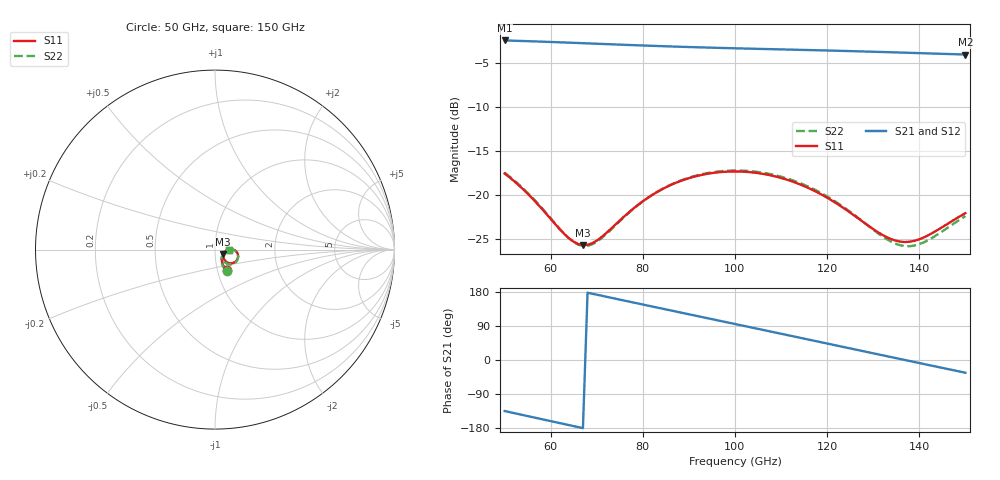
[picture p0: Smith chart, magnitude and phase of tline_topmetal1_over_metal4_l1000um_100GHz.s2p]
#  GHZ S DB R 50
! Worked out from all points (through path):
!   101 points, 50 GHz to 150 GHz, reference 50 ohm
!   highest |S21| = -2.47 dB at 50 GHz (marker M1); lowest = -4.1 dB at 150 GHz (marker M2)
!   group delay of S21, straight-line fit = 7.17 ps
!   lowest |S11| = -25.7 dB at 67 GHz (marker M3), VSWR 1.11, Z = 54.6 - j2.85 ohm
!   |S11| at or under -10 dB: start of sweep to end of sweep
!   |S22| runs from -25.8 to -17.2 dB; largest |S21 - S12| = 8.6e-14
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50  -17.58 -59.9  -2.47 -134.6  -2.47 -134.6  -17.48 -61.1
55  -19.87 -62.6  -2.55 -148.0  -2.55 -148.0  -19.77 -64.2
59  -22.13 -60.2  -2.63 -158.6  -2.63 -158.6  -22.04 -62.1
64  -24.94 -45.7  -2.72 -171.9  -2.72 -171.9  -24.95 -48.2
67  -25.70 -30.1  -2.78 -179.8  -2.78 -179.8  -25.80 -32.5
70  -25.19 -14.8  -2.84 172.4  -2.84 172.4  -25.32 -16.6
75  -22.91 -0.8  -2.95 159.3  -2.95 159.3  -22.99 -2.1
80  -20.72 1.4  -3.04 146.4  -3.04 146.4  -20.74 0.2
84  -19.41 -0.9  -3.12 136.1  -3.12 136.1  -19.39 -2.3
92  -17.82 -10.3  -3.25 115.5  -3.25 115.5  -17.75 -12.1
100  -17.34 -22.1  -3.36 95.0  -3.36 95.0  -17.24 -24.2
104  -17.46 -28.0  -3.41 84.7  -3.41 84.7  -17.34 -30.5
108  -17.81 -33.8  -3.46 74.4  -3.46 74.4  -17.68 -36.6
112  -18.40 -39.1  -3.51 64.1  -3.51 64.1  -18.26 -42.2
117  -19.48 -44.5  -3.57 51.2  -3.57 51.2  -19.33 -48.2
122  -20.96 -47.5  -3.64 38.3  -3.64 38.3  -20.83 -52.0
126  -22.39 -47.0  -3.70 28.0  -3.70 28.0  -22.32 -52.2
134  -25.05 -32.8  -3.81 7.4  -3.81 7.4  -25.35 -39.0
137  -25.35 -23.3  -3.86 -0.3  -3.86 -0.3  -25.82 -28.9
140  -25.04 -14.2  -3.91 -8.0  -3.91 -8.0  -25.60 -18.5
145  -23.66 -4.2  -3.99 -20.8  -3.99 -20.8  -24.14 -7.0
150  -22.08 -1.3  -4.07 -33.6  -4.07 -33.6  -22.41 -3.6
